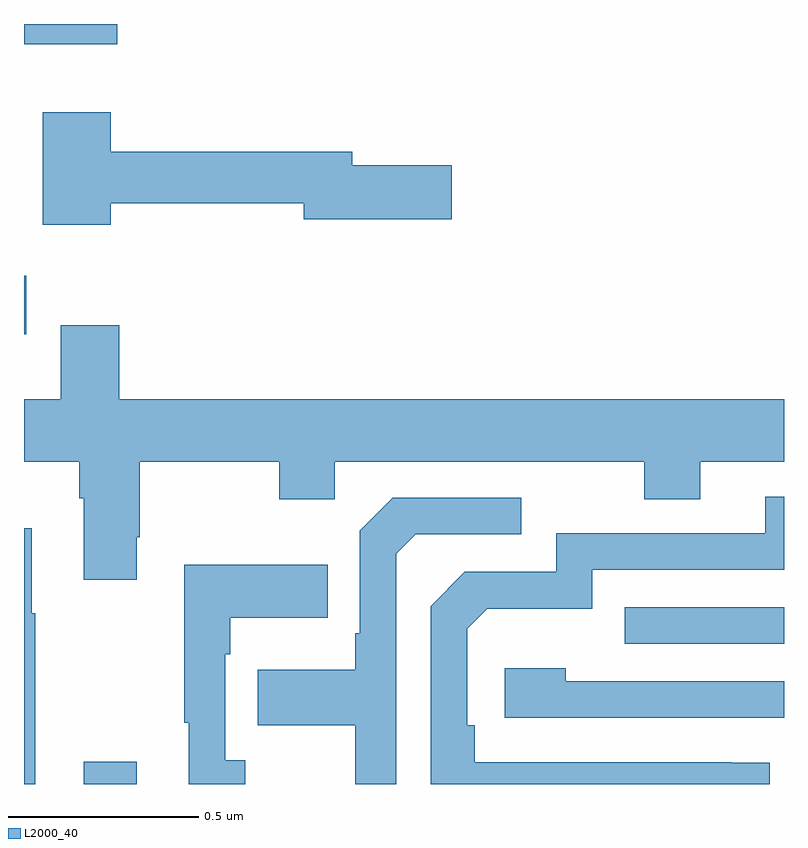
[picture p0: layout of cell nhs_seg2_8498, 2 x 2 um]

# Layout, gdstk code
import gdstk
lib = gdstk.Library(unit=1e-6, precision=1e-09)
def R(c, l, rs):  # rectangles x0, y0, x1, y1
    for r in rs: c.add(gdstk.rectangle(r[:2], r[2:], *l))
def P(c, l, *ps):  # polygons
    for p in ps: c.add(gdstk.Polygon(p, *l))
L2000_40 = (2000, 40)

nhs_seg2_8498 = lib.new_cell('nhs_seg2_8498')
R(nhs_seg2_8498, L2000_40, [(217.157,634.8,217.297,634.858), (218.581,635.169,219,635.265), (217,635.984,217.006,636.138), (217,636.747,217.246,636.8)])
P(nhs_seg2_8498, L2000_40, [(217.228,636.328),(217.736,636.328),(217.736,636.286),(218.125,636.286),(218.125,636.428),(217.864,636.428),(217.864,636.464),(217.228,636.464),(217.228,636.568),(217.049,636.568),(217.049,636.272),(217.228,636.272)],
  [(217.297,635.449),(217.305,635.449),(217.305,635.648),(217.672,635.648),(217.672,635.549),(217.818,635.549),(217.818,635.648),(218.632,635.648),(218.632,635.549),(218.779,635.549),(218.779,635.648),(219,635.648),(219,635.812),(217.25,635.812),(217.25,636.007),(217.097,636.007),(217.097,635.812),(217,635.812),(217,635.648),(217.145,635.648),(217.145,635.552),(217.157,635.552),(217.157,635.337),(217.297,635.337)],
  [(218.963,634.856),(218.861,634.856),(218.861,634.857),(218.186,634.857),(218.186,634.954),(218.166,634.954),(218.166,635.208),(218.219,635.261),(218.496,635.261),(218.496,635.364),(219,635.364),(219,635.556),(218.951,635.556),(218.951,635.46),(218.4,635.46),(218.4,635.358),(218.16,635.358),(218.07,635.268),(218.07,634.8),(218.963,634.8)],
  [(217.98,635.406),(218.031,635.457),(218.308,635.457),(218.308,635.553),(217.971,635.553),(217.884,635.466),(217.884,635.197),(217.872,635.197),(217.872,635.101),(217.615,635.101),(217.615,634.954),(217.872,634.954),(217.872,634.8),(217.98,634.8)],
  [(217.029,635.249),(217.021,635.249),(217.021,635.473),(217,635.473),(217,634.8),(217.029,634.8)],
  [(217.582,634.862),(217.53,634.862),(217.53,635.141),(217.543,635.141),(217.543,635.237),(217.799,635.237),(217.799,635.377),(217.422,635.377),(217.422,634.961),(217.433,634.961),(217.433,634.8),(217.582,634.8)],
  [(219,635.07),(218.426,635.07),(218.426,635.104),(218.265,635.104),(218.265,634.974),(219,634.974)])

lib.write_gds('nhs_seg2_8498.gds')
